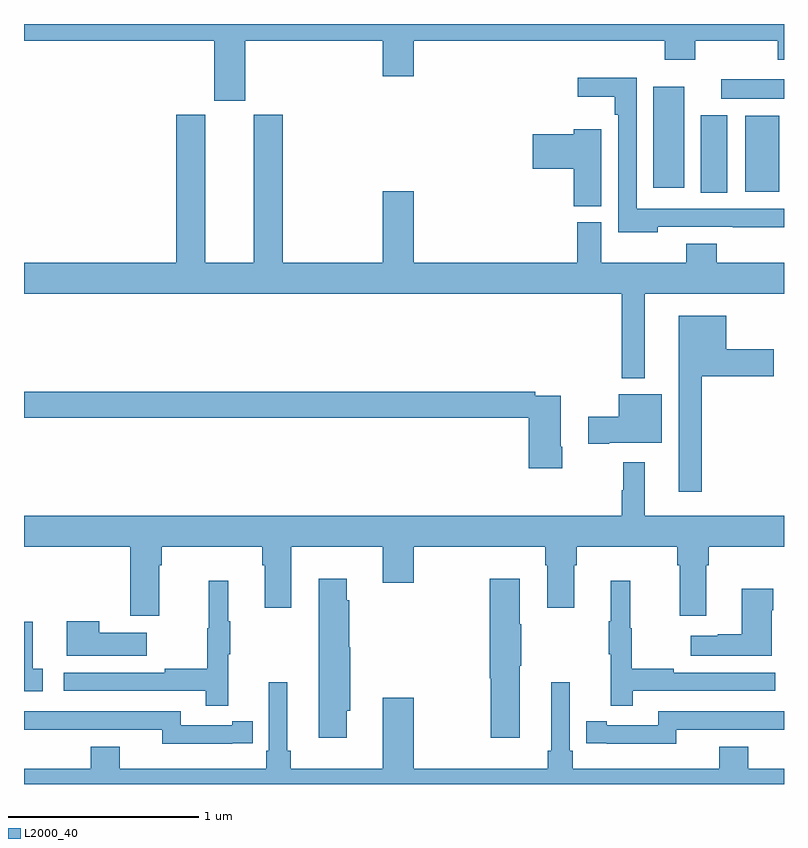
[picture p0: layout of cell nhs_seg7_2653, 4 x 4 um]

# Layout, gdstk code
import gdstk
lib = gdstk.Library(unit=1e-6, precision=1e-09)
def R(c, l, rs):  # rectangles x0, y0, x1, y1
    for r in rs: c.add(gdstk.rectangle(r[:2], r[2:], *l))
def P(c, l, *ps):  # polygons
    for p in ps: c.add(gdstk.Polygon(p, *l))
L2000_40 = (2000, 40)

nhs_seg7_2653 = lib.new_cell('nhs_seg7_2653')
R(nhs_seg7_2653, L2000_40, [(286.562,1037.113,286.702,1037.521), (286.796,1037.117,286.975,1037.518), (286.313,1037.139,286.474,1037.671), (286.671,1037.606,287,1037.71)])
P(nhs_seg7_2653, L2000_40, [(284.164,1037.912),(284.888,1037.912),(284.888,1037.724),(285.052,1037.724),(285.052,1037.912),(286.373,1037.912),(286.373,1037.813),(286.533,1037.813),(286.533,1037.912),(286.966,1037.912),(286.966,1037.813),(287,1037.813),(287,1038),(283,1038),(283,1037.912),(284,1037.912),(284,1037.595),(284.164,1037.595)],
  [(286.335,1036.932),(286.729,1036.932),(286.729,1036.93),(287,1036.93),(287,1037.028),(286.224,1037.028),(286.224,1037.717),(285.915,1037.717),(285.915,1037.618),(286.108,1037.618),(286.108,1037.522),(286.128,1037.522),(286.128,1036.904),(286.335,1036.904)],
  [(286.267,1036.58),(287,1036.58),(287,1036.744),(286.646,1036.744),(286.646,1036.843),(286.486,1036.843),(286.486,1036.744),(286.039,1036.744),(286.039,1036.956),(285.911,1036.956),(285.911,1036.744),(285.052,1036.744),(285.052,1037.119),(284.888,1037.119),(284.888,1036.744),(284.363,1036.744),(284.363,1037.523),(284.21,1037.523),(284.21,1036.744),(283.954,1036.744),(283.954,1037.523),(283.802,1037.523),(283.802,1036.744),(283,1036.744),(283,1036.58),(286.146,1036.58),(286.146,1036.136),(286.267,1036.136)],
  [(286.039,1037.446),(285.893,1037.446),(285.893,1037.42),(285.678,1037.42),(285.678,1037.237),(285.893,1037.237),(285.893,1037.041),(286.039,1037.041)],
  [(286.567,1036.145),(286.945,1036.145),(286.945,1036.287),(286.696,1036.287),(286.696,1036.465),(286.445,1036.465),(286.445,1035.537),(286.567,1035.537)],
  [(285.834,1035.775),(285.826,1035.775),(285.826,1036.044),(285.692,1036.044),(285.692,1036.064),(283,1036.064),(283,1035.928),(285.656,1035.928),(285.656,1035.663),(285.834,1035.663)],
  [(286.081,1035.797),(286.357,1035.797),(286.357,1036.051),(286.13,1036.051),(286.13,1035.932),(285.969,1035.932),(285.969,1035.79),(286.081,1035.79)],
  [(283.711,1035.152),(283.724,1035.152),(283.724,1035.248),(284.255,1035.248),(284.255,1035.152),(284.267,1035.152),(284.267,1034.928),(284.407,1034.928),(284.407,1035.248),(284.888,1035.248),(284.888,1035.06),(285.052,1035.06),(285.052,1035.248),(285.743,1035.248),(285.743,1035.152),(285.755,1035.152),(285.755,1034.928),(285.895,1034.928),(285.895,1035.152),(285.908,1035.152),(285.908,1035.248),(286.439,1035.248),(286.439,1035.152),(286.451,1035.152),(286.451,1034.886),(286.591,1034.886),(286.591,1035.152),(286.604,1035.152),(286.604,1035.248),(287,1035.248),(287,1035.412),(286.267,1035.412),(286.267,1035.694),(286.153,1035.694),(286.153,1035.545),(286.146,1035.545),(286.146,1035.412),(283,1035.412),(283,1035.248),(283.559,1035.248),(283.559,1034.886),(283.711,1034.886)],
  [(284.698,1034.385),(284.716,1034.385),(284.716,1034.721),(284.711,1034.721),(284.711,1034.966),(284.698,1034.966),(284.698,1035.079),(284.552,1035.079),(284.552,1034.244),(284.698,1034.244)],
  [(285.61,1034.623),(285.618,1034.623),(285.618,1034.84),(285.61,1034.84),(285.61,1035.079),(285.452,1035.079),(285.452,1034.556),(285.457,1034.556),(285.457,1034.244),(285.61,1034.244)],
  [(286.205,1034.49),(286.954,1034.49),(286.954,1034.586),(286.421,1034.586),(286.421,1034.606),(286.198,1034.606),(286.198,1034.82),(286.19,1034.82),(286.19,1035.07),(286.088,1035.07),(286.088,1034.857),(286.077,1034.857),(286.077,1034.683),(286.088,1034.683),(286.088,1034.412),(286.205,1034.412)],
  [(284.075,1034.683),(284.086,1034.683),(284.086,1034.857),(284.075,1034.857),(284.075,1035.07),(283.972,1035.07),(283.972,1034.82),(283.965,1034.82),(283.965,1034.606),(283.741,1034.606),(283.741,1034.586),(283.209,1034.586),(283.209,1034.49),(283.957,1034.49),(283.957,1034.412),(284.075,1034.412)],
  [(286.936,1034.915),(286.944,1034.915),(286.944,1035.028),(286.778,1035.028),(286.778,1034.789),(286.652,1034.789),(286.652,1034.779),(286.509,1034.779),(286.509,1034.675),(286.936,1034.675)],
  [(283.645,1034.797),(283.397,1034.797),(283.397,1034.857),(283.226,1034.857),(283.226,1034.675),(283.645,1034.675)],
  [(283.099,1034.607),(283.046,1034.607),(283.046,1034.853),(283,1034.853),(283,1034.487),(283.099,1034.487)],
  [(285.887,1034.176),(285.873,1034.176),(285.873,1034.536),(285.776,1034.536),(285.776,1034.176),(285.757,1034.176),(285.757,1034.08),(285.052,1034.08),(285.052,1034.455),(284.888,1034.455),(284.888,1034.08),(284.405,1034.08),(284.405,1034.176),(284.386,1034.176),(284.386,1034.536),(284.289,1034.536),(284.289,1034.176),(284.276,1034.176),(284.276,1034.08),(283.504,1034.08),(283.504,1034.197),(283.352,1034.197),(283.352,1034.08),(283,1034.08),(283,1034),(287,1034),(287,1034.08),(286.811,1034.08),(286.811,1034.197),(286.658,1034.197),(286.658,1034.08),(285.887,1034.08)],
  [(286.434,1034.286),(286.894,1034.286),(286.894,1034.285),(287,1034.285),(287,1034.382),(286.338,1034.382),(286.338,1034.31),(286.066,1034.31),(286.066,1034.33),(285.958,1034.33),(285.958,1034.214),(286.066,1034.214),(286.066,1034.213),(286.434,1034.213)],
  [(284.096,1034.214),(284.204,1034.214),(284.204,1034.33),(284.096,1034.33),(284.096,1034.31),(283.824,1034.31),(283.824,1034.382),(283,1034.382),(283,1034.285),(283.268,1034.285),(283.268,1034.286),(283.728,1034.286),(283.728,1034.213),(284.096,1034.213)])

lib.write_gds('nhs_seg7_2653.gds')
